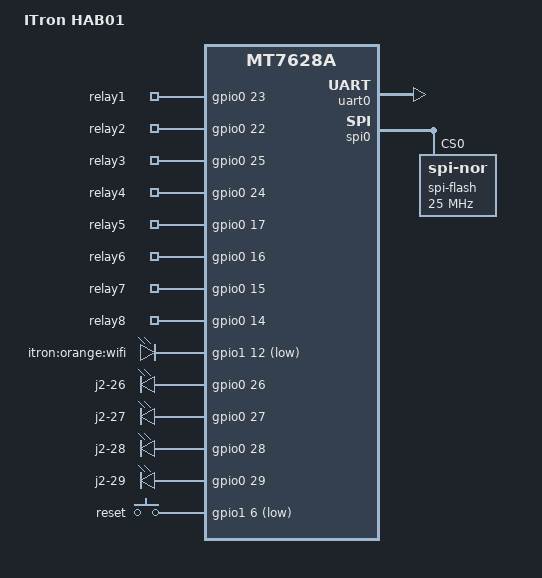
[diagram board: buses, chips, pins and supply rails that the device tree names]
// SPDX-License-Identifier: GPL-2.0
/dts-v1/;

#include "mt7628a.dtsi"
#include <dt-bindings/gpio/gpio.h>

/ {
	compatible = "itron,hab01", "ralink,mt7628a-soc";
	model = "ITron HAB01";

	aliases {
		serial0 = &uart0;
		spi0 = &spi0;
	};

    leds {
        compatible = "gpio-leds";
        relay1 {
            label = "relay1";
            gpios = <&gpio0 23 GPIO_ACTIVE_HIGH>;
            default-state = "off";
        };
        relay2 {
            label = "relay2";
            gpios = <&gpio0 22 GPIO_ACTIVE_HIGH>;
            default-state = "off";
        };
        relay3 {
            label = "relay3";
            gpios = <&gpio0 25 GPIO_ACTIVE_HIGH>;
            default-state = "off";
        };
        relay4 {
            label = "relay4";
            gpios = <&gpio0 24 GPIO_ACTIVE_HIGH>;
            default-state = "off";
        };
        relay5 {
            label = "relay5";
            gpios = <&gpio0 17 GPIO_ACTIVE_HIGH>;
            default-state = "off";
        };
        relay6 {
            label = "relay6";
            gpios = <&gpio0 16 GPIO_ACTIVE_HIGH>;
            default-state = "off";
        };
        relay7 {
            label = "relay7";
            gpios = <&gpio0 15 GPIO_ACTIVE_HIGH>;
            default-state = "off";
        };
        relay8 {
            label = "relay8";
            gpios = <&gpio0 14 GPIO_ACTIVE_HIGH>;
            default-state = "off";
        };

        wifi {
            label = "itron:orange:wifi";
            gpios = <&gpio1 12 GPIO_ACTIVE_LOW>;
            default-state = "off";
        };


        j2-26 {
            label = "j2-26";
            gpios = <&gpio0 26 GPIO_ACTIVE_HIGH>;
            default-state = "off";
        };
        j2-27 {
            label = "j2-27";
            gpios = <&gpio0 27 GPIO_ACTIVE_HIGH>;
            default-state = "off";
        };
        j2-28 {
            label = "j2-28";
            gpios = <&gpio0 28 GPIO_ACTIVE_HIGH>;
            default-state = "off";
        };
        j2-29 {
            label = "j2-29";
            gpios = <&gpio0 29 GPIO_ACTIVE_HIGH>;
            default-state = "off";
        };


    };

    keys {
        compatible = "gpio-keys";

        wps {
            label = "reset";
            gpios = <&gpio1 6 GPIO_ACTIVE_LOW>;
            linux,code = <0x211>;
        };
    };

	chosen {
		stdout-path = &uart0;
	};
};

&state_default {
    gpio {
        groups = "gpio";
        function = "gpio";
    };

    perst {
        groups = "perst";
        function = "gpio";
    };


    refclk {
        groups = "refclk";
        function = "gpio";
    };

    i2s {
        groups = "i2s";
        function = "gpio";
    };

    spis {
        groups = "spis";
        function = "gpio";
    };

    wled_an {
        groups = "wled_an";
        function = "gpio";
    };

    wdt {
        groups = "wdt";
        function = "gpio";
    };
};

&uart0 {
	status = "okay";
};

&spi0 {
	status = "okay";
	num-cs = <2>;

	spi-flash@0 {
		#address-cells = <1>;
		#size-cells = <1>;
		compatible = "jedec,spi-nor";
		spi-max-frequency = <25000000>;
		reg = <0>;
	};
};

&eth {
	pinctrl-names = "default";
	pinctrl-0 = <&ephy_iot_mode>;
	mediatek,poll-link-phy = <0>;
};

